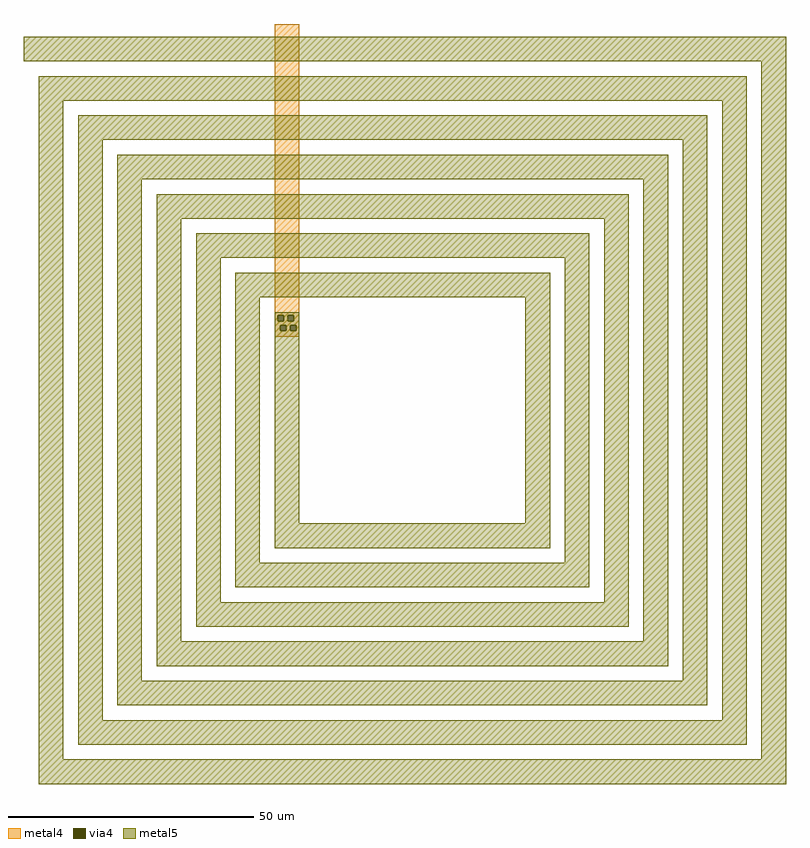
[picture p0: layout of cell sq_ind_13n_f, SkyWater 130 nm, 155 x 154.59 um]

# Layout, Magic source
magic
tech sky130A
magscale 1 2
<< metal4 >>
rect 5400 -7132 6400 4717
rect 5400 -7368 5532 -7132
rect 5768 -7368 5932 -7132
rect 6168 -7368 6400 -7132
rect 5400 -7532 6400 -7368
rect 5400 -7768 5632 -7532
rect 5868 -7768 6032 -7532
rect 6268 -7768 6400 -7532
rect 5400 -8000 6400 -7768
<< via4 >>
rect 5532 -7368 5768 -7132
rect 5932 -7368 6168 -7132
rect 5632 -7768 5868 -7532
rect 6032 -7768 6268 -7532
<< metal5 >>
rect -4800 3200 26200 4200
rect -4200 1600 24600 2600
rect -4200 -25200 -3200 1600
rect -2600 0 23000 1000
rect -2600 -23600 -1600 0
rect -1000 -1600 21400 -600
rect -1000 -22000 0 -1600
rect 600 -3200 19800 -2200
rect 600 -20400 1600 -3200
rect 2200 -4800 18200 -3800
rect 2200 -18800 3200 -4800
rect 3800 -6400 16600 -5400
rect 3800 -17200 4800 -6400
rect 5400 -7132 6400 -7000
rect 5400 -7368 5532 -7132
rect 5768 -7368 5932 -7132
rect 6168 -7368 6400 -7132
rect 5400 -7532 6400 -7368
rect 5400 -7768 5632 -7532
rect 5868 -7768 6032 -7532
rect 6268 -7768 6400 -7532
rect 5400 -15600 6400 -7768
rect 15600 -15600 16600 -6400
rect 5400 -16600 16600 -15600
rect 17200 -17200 18200 -4800
rect 3800 -18200 18200 -17200
rect 18800 -18800 19800 -3200
rect 2200 -19800 19800 -18800
rect 20400 -20400 21400 -1600
rect 600 -21400 21400 -20400
rect 22000 -22000 23000 0
rect -1000 -23000 23000 -22000
rect 23600 -23600 24600 1600
rect -2600 -24600 24600 -23600
rect 25200 -25200 26200 3200
rect -4200 -26200 26200 -25200
<< end >>
